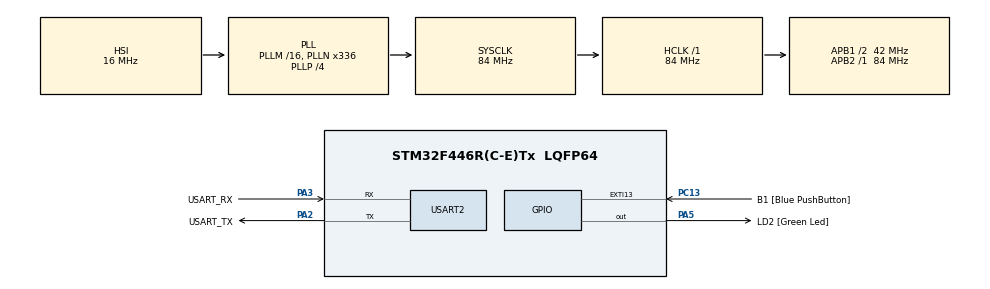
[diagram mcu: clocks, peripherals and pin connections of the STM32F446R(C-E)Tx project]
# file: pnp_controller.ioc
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Mcu.Family=STM32F4
Mcu.Name=STM32F446R(C-E)Tx
Mcu.Package=LQFP64
NVIC.PriorityGroup=NVIC_PRIORITYGROUP_0
NVIC.USART2_IRQn=true\:0\:0\:false\:false\:true\:true\:true\:true
PA13.GPIO_Label=TMS
PA13.Mode=Serial_Wire
PA13.Signal=SYS_JTMS-SWDIO
PA14.GPIO_Label=TCK
PA14.Mode=Serial_Wire
PA14.Signal=SYS_JTCK-SWCLK
PA2.GPIO_Label=USART_TX
PA2.Mode=Asynchronous
PA2.Signal=USART2_TX
PA3.GPIO_Label=USART_RX
PA3.Mode=Asynchronous
PA3.Signal=USART2_RX
PA5.GPIO_Label=LD2 [Green Led]
PA5.Signal=GPIO_Output
PB3.GPIO_Label=SWO
PB3.Signal=SYS_JTDO-SWO
PC13.GPIO_Label=B1 [Blue PushButton]
PC13.GPIO_ModeDefaultEXTI=GPIO_MODE_IT_FALLING
PC13.Signal=GPXTI13
PC14-OSC32_IN.Mode=LSE-External-Oscillator
PC14-OSC32_IN.Signal=RCC_OSC32_IN
PC15-OSC32_OUT.Mode=LSE-External-Oscillator
PC15-OSC32_OUT.Signal=RCC_OSC32_OUT
PH0-OSC_IN.Mode=HSE-External-Oscillator
PH0-OSC_IN.Signal=RCC_OSC_IN
PH1-OSC_OUT.Mode=HSE-External-Oscillator
PH1-OSC_OUT.Signal=RCC_OSC_OUT
ProjectManager.HeapSize=0x200
ProjectManager.StackSize=0x400
ProjectManager.TargetToolchain=STM32CubeIDE
RCC.48MHZClocksFreq_Value=84000000
RCC.AHBFreq_Value=84000000
RCC.APB1CLKDivider=RCC_HCLK_DIV2
RCC.APB1Freq_Value=42000000
RCC.APB1TimFreq_Value=84000000
RCC.APB2Freq_Value=84000000
RCC.APB2TimFreq_Value=84000000
RCC.CortexFreq_Value=84000000
RCC.FLatency-AdvancedSettings=FLASH_LATENCY_2
RCC.HCLKFreq_Value=84000000
RCC.HSE_VALUE=8000000
RCC.HSI_VALUE=16000000
RCC.PLLN=336
RCC.PLLP=RCC_PLLP_DIV4
RCC.SYSCLKFreq_VALUE=84000000
RCC.SYSCLKSource=RCC_SYSCLKSOURCE_PLLCLK
RCC.USBFreq_Value=168000000
RCC.VCOOutputFreq_Value=336000000
USART2.VirtualMode=VM_ASYNC
board=NUCLEO-F446RE

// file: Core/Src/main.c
/* USER CODE BEGIN Header */
/**
  ******************************************************************************
  * @file           : main.c
  * @brief          : Main program body
  ******************************************************************************
  * @attention
  *
  * Copyright (c) 2023 STMicroelectronics.
  * All rights reserved.
  *
  * This software is licensed under terms that can be found in the LICENSE file
  * in the root directory of this software component.
  * If no LICENSE file comes with this software, it is provided AS-IS.
  *
  ******************************************************************************
  */
/* USER CODE END Header */
#include "main.h"

UART_HandleTypeDef huart2;

/* USER CODE BEGIN PV */
uint8_t tx_buffer[27]= "message rx \n\r";
uint8_t rx_indx;
uint8_t rx_data; // To store the received character
uint8_t rx_buffer[6];
uint8_t transfer_cplt;
uint8_t no_message[27]= "no message received \n\r";
uint8_t rx_flag;

/* USER CODE END PV */

void SystemClock_Config(void);
static void MX_GPIO_Init(void);
static void MX_USART2_UART_Init(void);

int main(void)
{

  /* MCU Configuration--------------------------------------------------------*/

  /* Reset of all peripherals, Initializes the Flash interface and the Systick. */
  HAL_Init();

  /* Configure the system clock */
  SystemClock_Config();

  /* Initialize all configured peripherals */
  MX_GPIO_Init();
  MX_USART2_UART_Init();
  /* USER CODE BEGIN 2 */
  HAL_UART_Receive_IT(&huart2, rx_buffer, 6);
  rx_flag =0;
  /* USER CODE END 2 */

  /* Infinite loop */
  while (1)
  {

    /* USER CODE BEGIN 3 */

	  if(rx_flag){

		  //HAL_GPIO_TogglePin(GPIOA, GPIO_PIN_5); // toggle LED
		  HAL_UART_Transmit(&huart2, tx_buffer, sizeof(tx_buffer), 10); // transmit "message received"
		  rx_flag = 0; // reset the flag
	  }

	  //HAL_UART_Transmit(&huart2,tx_buffer,27,10);
	  //HAL_Delay(1000);

  }
  /* USER CODE END 3 */
}

void SystemClock_Config(void)
{
  RCC_OscInitTypeDef RCC_OscInitStruct = {0};
  RCC_ClkInitTypeDef RCC_ClkInitStruct = {0};

  /** Configure the main internal regulator output voltage
  */
  __HAL_RCC_PWR_CLK_ENABLE();
  __HAL_PWR_VOLTAGESCALING_CONFIG(PWR_REGULATOR_VOLTAGE_SCALE3);

  /** Initializes the RCC Oscillators according to the specified parameters
  * in the RCC_OscInitTypeDef structure.
  */
  RCC_OscInitStruct.OscillatorType = RCC_OSCILLATORTYPE_HSI;
  RCC_OscInitStruct.HSIState = RCC_HSI_ON;
  RCC_OscInitStruct.HSICalibrationValue = RCC_HSICALIBRATION_DEFAULT;
  RCC_OscInitStruct.PLL.PLLState = RCC_PLL_ON;
  RCC_OscInitStruct.PLL.PLLSource = RCC_PLLSOURCE_HSI;
  RCC_OscInitStruct.PLL.PLLM = 16;
  RCC_OscInitStruct.PLL.PLLN = 336;
  RCC_OscInitStruct.PLL.PLLP = RCC_PLLP_DIV4;
  RCC_OscInitStruct.PLL.PLLQ = 2;
  RCC_OscInitStruct.PLL.PLLR = 2;
  if (HAL_RCC_OscConfig(&RCC_OscInitStruct) != HAL_OK)
  {
    Error_Handler();
  }

  /** Initializes the CPU, AHB and APB buses clocks
  */
  RCC_ClkInitStruct.ClockType = RCC_CLOCKTYPE_HCLK|RCC_CLOCKTYPE_SYSCLK
                              |RCC_CLOCKTYPE_PCLK1|RCC_CLOCKTYPE_PCLK2;
  RCC_ClkInitStruct.SYSCLKSource = RCC_SYSCLKSOURCE_PLLCLK;
  RCC_ClkInitStruct.AHBCLKDivider = RCC_SYSCLK_DIV1;
  RCC_ClkInitStruct.APB1CLKDivider = RCC_HCLK_DIV2;
  RCC_ClkInitStruct.APB2CLKDivider = RCC_HCLK_DIV1;

  if (HAL_RCC_ClockConfig(&RCC_ClkInitStruct, FLASH_LATENCY_2) != HAL_OK)
  {
    Error_Handler();
  }
}

static void MX_USART2_UART_Init(void)
{

  huart2.Instance = USART2;
  huart2.Init.BaudRate = 115200;
  huart2.Init.WordLength = UART_WORDLENGTH_8B;
  huart2.Init.StopBits = UART_STOPBITS_1;
  huart2.Init.Parity = UART_PARITY_NONE;
  huart2.Init.Mode = UART_MODE_TX_RX;
  huart2.Init.HwFlowCtl = UART_HWCONTROL_NONE;
  huart2.Init.OverSampling = UART_OVERSAMPLING_16;
  if (HAL_UART_Init(&huart2) != HAL_OK)
  {
    Error_Handler();
  }

}

static void MX_GPIO_Init(void)
{
  GPIO_InitTypeDef GPIO_InitStruct = {0};

  /* GPIO Ports Clock Enable */
  __HAL_RCC_GPIOC_CLK_ENABLE();
  __HAL_RCC_GPIOH_CLK_ENABLE();
  __HAL_RCC_GPIOA_CLK_ENABLE();
  __HAL_RCC_GPIOB_CLK_ENABLE();

  /*Configure GPIO pin Output Level */
  HAL_GPIO_WritePin(LD2_GPIO_Port, LD2_Pin, GPIO_PIN_RESET);

  /*Configure GPIO pin : B1_Pin */
  GPIO_InitStruct.Pin = B1_Pin;
  GPIO_InitStruct.Mode = GPIO_MODE_IT_FALLING;
  GPIO_InitStruct.Pull = GPIO_NOPULL;
  HAL_GPIO_Init(B1_GPIO_Port, &GPIO_InitStruct);

  /*Configure GPIO pin : LD2_Pin */
  GPIO_InitStruct.Pin = LD2_Pin;
  GPIO_InitStruct.Mode = GPIO_MODE_OUTPUT_PP;
  GPIO_InitStruct.Pull = GPIO_NOPULL;
  GPIO_InitStruct.Speed = GPIO_SPEED_FREQ_LOW;
  HAL_GPIO_Init(LD2_GPIO_Port, &GPIO_InitStruct);

}

/* USER CODE BEGIN 4 */

void HAL_UART_RxCpltCallback(UART_HandleTypeDef *huart) {
    UNUSED(huart);
    if (huart->Instance == USART2) {
    	HAL_GPIO_TogglePin(GPIOA, GPIO_PIN_5);
    	HAL_UART_Transmit(&huart2, tx_buffer, sizeof(tx_buffer), 10); // transmit "message received"
    	//HAL_GPIO_WritePin(GPIOA, GPIO_PIN_5, GPIO_PIN_SET);
        rx_buffer[rx_indx++] = rx_data; // store received data

        if (rx_data == '\n' || rx_data == '\r') { // check for termination
            rx_flag = 1; // set the received flag
            rx_indx = 0; // reset the index
        }
   }
    HAL_UART_Receive_IT(&huart2, rx_buffer, 6);

}

/* USER CODE END 4 */

void Error_Handler(void)
{
  __disable_irq();
  while (1)
  {
  }
}
